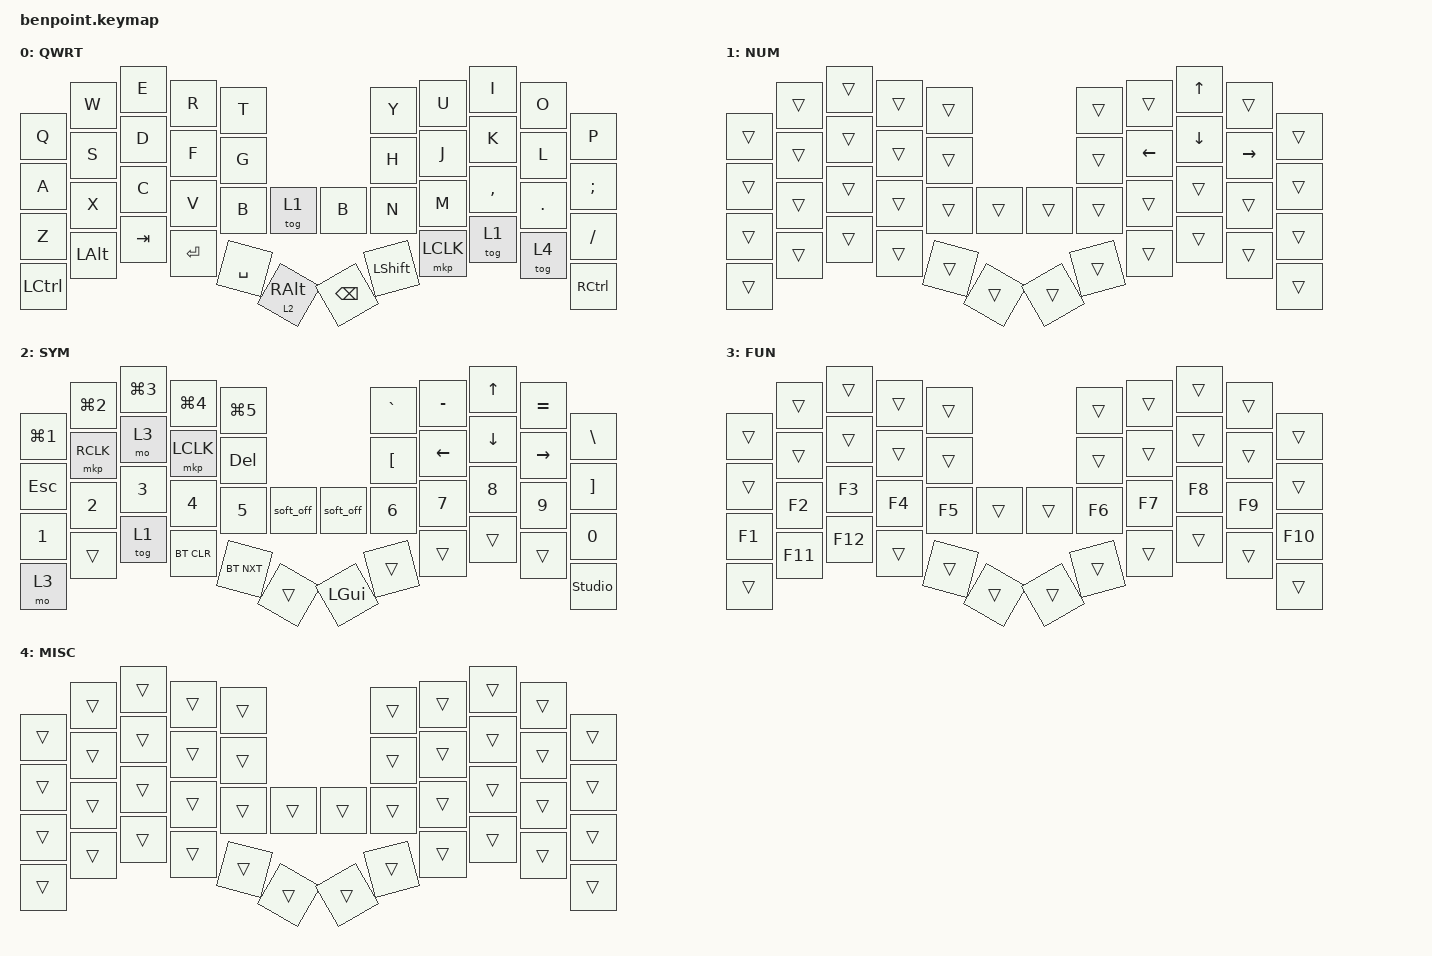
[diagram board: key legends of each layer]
#include <behaviors.dtsi>
#include <dt-bindings/zmk/keys.h>
#include <dt-bindings/zmk/bt.h>
#include <dt-bindings/zmk/mouse.h>
#include <behaviors/mouse_keys.dtsi>


&soft_off {
    hold-time-ms = <1000>; // Only turn off it the key is held for 1 seconds or longer.
};


/ {
    combos {
        compatible = "zmk,combos";
        combo_softoff {
            timeout-ms = <50>;
            key-positions = <42 43>;
            bindings = <&soft_off>;
        };
    };
};


/ {
    keymap {
        compatible = "zmk,keymap";

        default_layer {
            label = "QWRT";
            bindings = <
&kp Q      &kp W     &kp E    &kp R      &kp T                                       &kp Y           &kp U      &kp I       &kp O     &kp P
&kp A      &kp S     &kp D    &kp F      &kp G                                       &kp H           &kp J      &kp K       &kp L     &kp SEMICOLON
&kp Z      &kp X     &kp C    &kp V      &kp B      &tog 1            &kp B          &kp N           &kp M      &kp COMMA   &kp DOT   &kp SLASH
&kp LCTRL  &kp LALT  &kp TAB  &kp ENTER  &kp SPACE  &lt 2 RIGHT_ALT   &kp BACKSPACE  &kp LEFT_SHIFT  &mkp LCLK  &tog 1      &tog 4    &kp RCTRL
            >;
        };

        number_layer {
            label = "NUM";
            bindings = <
&trans  &trans  &trans  &trans  &trans                  &trans  &trans    &kp UP_ARROW  &trans     &trans
&trans  &trans  &trans  &trans  &trans                  &trans  &kp LEFT  &kp DOWN      &kp RIGHT  &trans
&trans  &trans  &trans  &trans  &trans  &trans  &trans  &trans  &trans    &trans        &trans     &trans
&trans  &trans  &trans  &trans  &trans  &trans  &trans  &trans  &trans    &trans        &trans     &trans
            >;
        };
        
        symbol_layer {
            label = "SYM";
            bindings = <
&kp LG(NUMBER_1)  &kp LG(NUMBER_2)  &kp LG(N3)  &kp LG(N4)  &kp LG(N5)                          &kp GRAVE         &kp MINUS  &kp UP_ARROW  &kp EQUAL  &kp BACKSLASH
&kp ESCAPE        &mkp RCLK         &mo 3       &mkp LCLK   &kp DEL                             &kp LEFT_BRACKET  &kp LEFT   &kp DOWN      &kp RIGHT  &kp RIGHT_BRACKET
&kp N1            &kp N2            &kp N3      &kp N4      &kp N5      &soft_off  &soft_off    &kp N6            &kp N7     &kp N8        &kp N9     &kp N0
&mo 3             &trans            &tog 1      &bt BT_CLR  &bt BT_NXT  &trans     &kp LGUI     &trans            &trans     &trans        &trans     &studio_unlock
            >;
        };

        function_layer {
            label = "FUN";
            bindings = <
&trans  &trans   &trans   &trans  &trans                  &trans  &trans  &trans  &trans  &trans
&trans  &trans   &trans   &trans  &trans                  &trans  &trans  &trans  &trans  &trans
&kp F1  &kp F2   &kp F3   &kp F4  &kp F5  &trans  &trans  &kp F6  &kp F7  &kp F8  &kp F9  &kp F10
&trans  &kp F11  &kp F12  &trans  &trans  &trans  &trans  &trans  &trans  &trans  &trans  &trans
            >;
        };

        misc_layer {
            label = "MISC";
            bindings = <
&trans  &trans   &trans   &trans  &trans                  &trans  &trans  &trans  &trans  &trans
&trans  &trans   &trans   &trans  &trans                  &trans  &trans  &trans  &trans  &trans
&trans  &trans   &trans   &trans  &trans  &trans  &trans  &trans  &trans  &trans  &trans  &trans
&trans  &trans   &trans   &trans  &trans  &trans  &trans  &trans  &trans  &trans  &trans  &trans
            >;
        };

    };
 };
